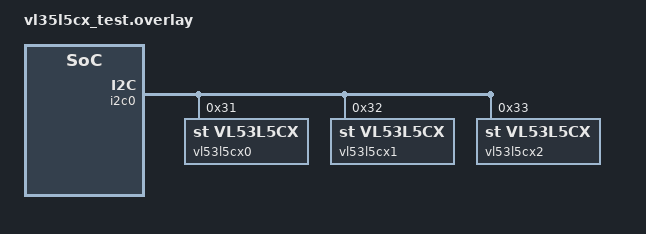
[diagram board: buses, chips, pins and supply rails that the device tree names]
/*
 * VL53L5CX ranging devices on the shared FPGA I2C bus, at their reassigned addresses.
 *
 * One node per slot of vl35l5cx_test's array that can hold a VL53L5CX: slots 0-2, the side
 * headers on ADS7128 GPIO1-3. Slot 3 (GPIO6, 0x34) is the down VL53L1X, which the VL53L5CX
 * driver cannot range, so it has no node here and the workload skips it. The fifth slot (a
 * sensor wired straight to the bus) is unused: with every XSHUT held low no VL53 part answers.
 * Keep in step with hardware/zephyr/targets/esp32c6/workloads/vl35l5cx_test.overlay.
 */

&i2c0 {
	vl53l5cx0: distance-sensor@31 {
		compatible = "st,vl53l5cx";
		reg = <0x31>;
		status = "okay";
	};

	vl53l5cx1: distance-sensor@32 {
		compatible = "st,vl53l5cx";
		reg = <0x32>;
		status = "okay";
	};

	vl53l5cx2: distance-sensor@33 {
		compatible = "st,vl53l5cx";
		reg = <0x33>;
		status = "okay";
	};
};

/ {
	aliases {
		tof0 = &vl53l5cx0;
		tof1 = &vl53l5cx1;
		tof2 = &vl53l5cx2;
	};
};
